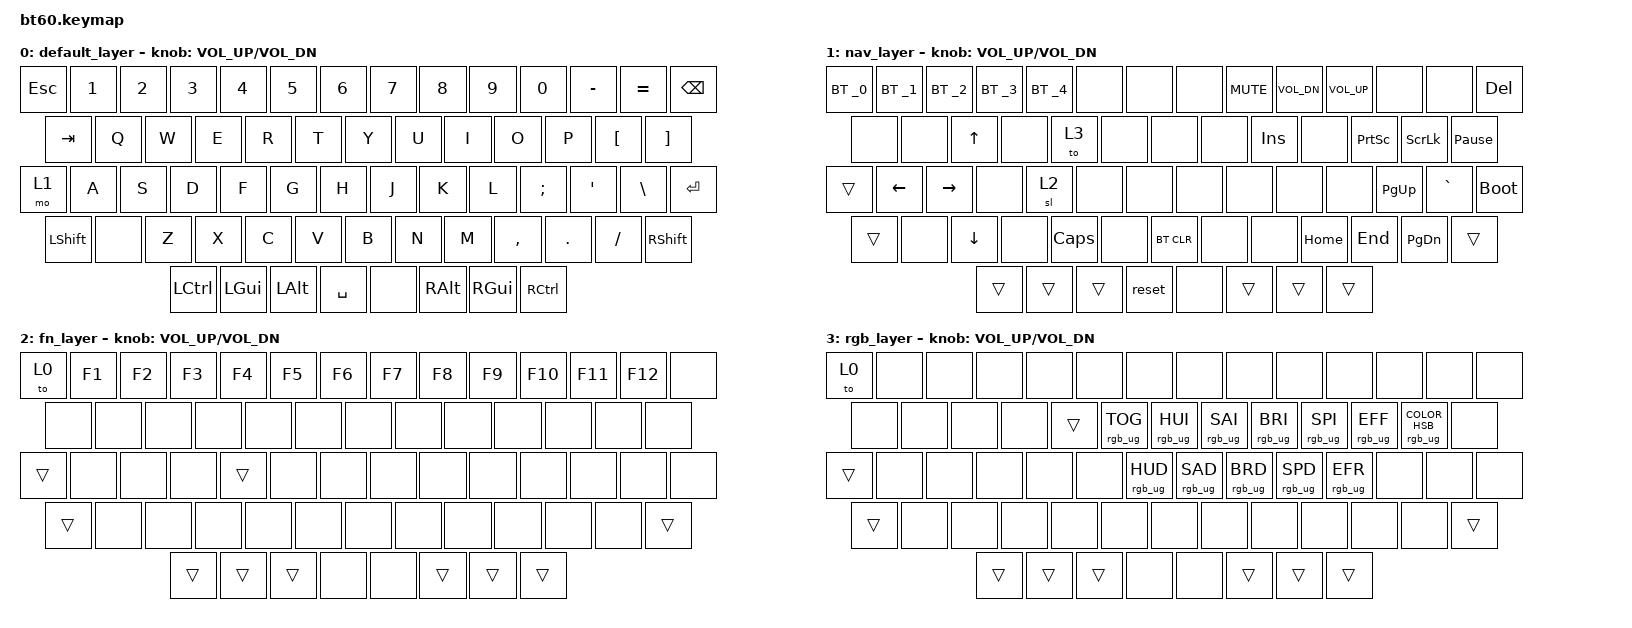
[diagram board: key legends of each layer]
#include <behaviors.dtsi>
#include <dt-bindings/zmk/keys.h>
#include <dt-bindings/zmk/bt.h>
#include <dt-bindings/zmk/rgb.h>
#include <dt-bindings/zmk/backlight.h>

/ {
	keymap {
		compatible = "zmk,keymap";

		default_layer {
				// ------------------------------------------------------------------------------------------
				// | ESC |  1  |  2  |  3  |  4  |  5  |  6  |  7  |  8  |  9  |  0  |  -  |  =  |   BKSP
				// | TAB  |  Q  |  W  |  E  |  R  |  T  |  Y  |  U  |  I  |  O  |  P  |  [  |  ]  |        |
				// | MOD_1  |  A  |  S  |  D  |  F  |  G  |  H  |  J  |  K  |  L  |  ;  |  '  |  #  | ENTER |
				// |  SHIFT | (none) |  Z  |  X  |  C  |  V  |  B  |  N  |  M  |  ,  |  .  | /   |    SHIFT    |
				// |  CTL  |  WIN  |  ALT  |            SPACE               | (none) | ALT    |  GUI |  CTRL|
				// ------------------------------------------------------------------------------------------

			bindings = <

				&kp ESC &kp N1 &kp N2 &kp N3 &kp N4 &kp N5 &kp N6 &kp N7 &kp  N8   &kp  N9 &kp  N0  &kp MINUS &kp EQUAL &kp BSPC
				&kp TAB  &kp Q  &kp W  &kp E  &kp R  &kp T  &kp Y  &kp U  &kp  I    &kp  O  &kp  P   &kp LBKT &kp RBKT
				&mo 1  &kp A  &kp S  &kp D  &kp F  &kp G  &kp H  &kp J  &kp  K    &kp  L  &kp SEMI &kp SQT &kp BSLH  &kp RET
				&kp LSHFT &none &kp Z  &kp X  &kp C  &kp V  &kp B  &kp N  &kp M  &kp COMMA &kp DOT &kp FSLH         &kp RSHFT
				&kp LCTRL &kp LGUI &kp LALT            &kp SPACE                              &none &kp RALT  &kp RGUI  &kp RCTRL
			>;
			sensor-bindings = <&inc_dec_kp C_VOL_UP C_VOL_DN>;
		};
		nav_layer {

			bindings = <
				&bt BT_SEL_0 &bt BT_SEL_1 &bt BT_SEL_2 &bt BT_SEL_3 &bt BT_SEL_4 &none &none &none &kp C_MUTE &kp C_VOL_DN &kp C_VOL_UP &none &none &kp DEL
				&none &none &kp UP &none &to 3 &none &none &none &kp INS &none &kp PSCRN &kp SLCK &kp PAUSE_BREAK
				&trans &kp LEFT &kp RIGHT &none &sl 2 &none &none &none &none &none &none &kp PG_UP &kp GRAVE &bootloader
				&trans &none &kp DOWN &none &kp CAPS &none &bt BT_CLR &none &none &kp HOME &kp END &kp PG_DN &trans 
				&trans &trans &trans              &reset                            &none &trans  &trans &trans 
			>;
			sensor-bindings = <&inc_dec_kp C_VOL_UP C_VOL_DN>;
                };
		fn_layer {

			bindings = <
				&to 0 &kp F1 &kp F2 &kp F3 &kp F4 &kp F5 &kp F6 &kp F7 &kp F8 &kp F9 &kp F10 &kp F11 &kp F12 &none
				&none &none &none &none &none &none &none &none &none &none &none &none &none 
				&trans &none &none &none &trans &none &none &none &none &none &none &none &none &none
				&trans &none &none &none &none &none &none &none &none &none &none &none &trans 
				&trans &trans &trans              &none                            &none &trans  &trans &trans 
			>;
			sensor-bindings = <&inc_dec_kp C_VOL_UP C_VOL_DN>;
                };
		rgb_layer {

			bindings = <
				&to 0 &none &none &none &none &none &none &none &none &none &none &none &none &none
				&none &none &none &none &trans &rgb_ug RGB_TOG &rgb_ug RGB_HUI &rgb_ug RGB_SAI &rgb_ug RGB_BRI &rgb_ug RGB_SPI &rgb_ug RGB_EFF &rgb_ug RGB_COLOR_HSB &none
				&trans   &none &none &none &none &none         &rgb_ug RGB_HUD &rgb_ug RGB_SAD &rgb_ug RGB_BRD &rgb_ug RGB_SPD &rgb_ug RGB_EFR &none &none &none
				&trans &none &none &none &none &none &none &none &none &none &none &none &trans 
				&trans &trans &trans              &none                            &none &trans  &trans &trans 
			>;
			sensor-bindings = <&inc_dec_kp C_VOL_UP C_VOL_DN>;

		};
	};
};
